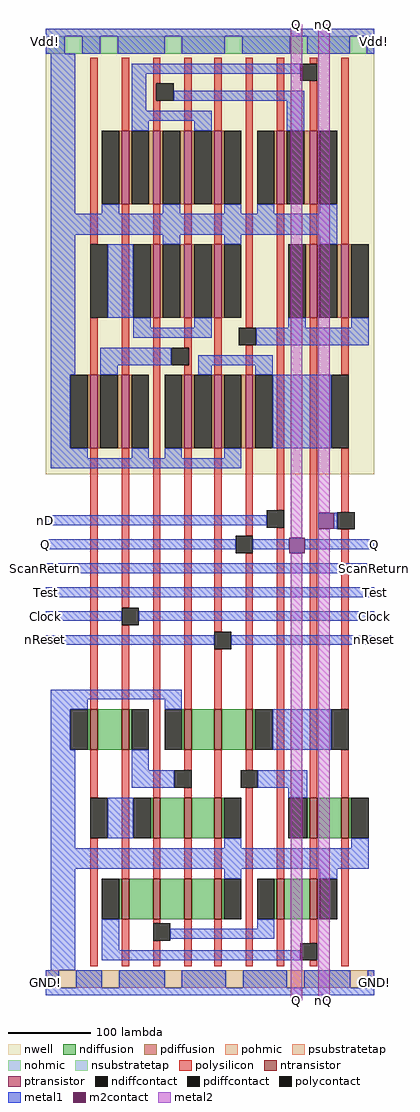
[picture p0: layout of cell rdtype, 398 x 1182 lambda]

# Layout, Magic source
magic
tech tsmc180
<< nwell >>
rect 0 637 398 1176
<< polysilicon >>
rect 54 915 63 1141
rect 92 1053 101 1141
rect 130 1110 139 1141
rect 130 1089 134 1110
rect 130 1053 139 1089
rect 168 1053 177 1141
rect 204 1053 213 1141
rect 54 757 63 826
rect 92 757 101 964
rect 130 915 139 964
rect 168 915 177 964
rect 204 915 213 964
rect 54 352 63 668
rect 92 475 101 668
rect 92 352 101 454
rect 54 245 63 303
rect 54 41 63 196
rect 92 147 101 303
rect 130 245 139 826
rect 168 790 177 826
rect 173 769 177 790
rect 168 757 177 769
rect 204 757 213 826
rect 242 814 251 1141
rect 280 1053 289 1141
rect 320 1134 329 1141
rect 320 1053 329 1113
rect 242 757 251 793
rect 168 352 177 668
rect 204 446 213 668
rect 242 562 251 668
rect 280 593 289 964
rect 320 915 329 964
rect 358 915 367 1141
rect 204 352 213 425
rect 242 352 251 541
rect 168 278 177 303
rect 168 245 177 257
rect 204 245 213 303
rect 242 278 251 303
rect 130 147 139 196
rect 168 147 177 196
rect 204 147 213 196
rect 92 41 101 98
rect 130 93 139 98
rect 130 41 139 72
rect 168 41 177 98
rect 204 41 213 98
rect 242 41 251 257
rect 280 147 289 572
rect 320 245 329 826
rect 358 757 367 826
rect 358 591 367 668
rect 358 352 367 570
rect 358 245 367 303
rect 320 147 329 196
rect 280 41 289 98
rect 320 69 329 98
rect 320 41 329 48
rect 358 41 367 196
<< ndiffusion >>
rect 51 303 54 352
rect 63 303 92 352
rect 101 303 104 352
rect 165 303 168 352
rect 177 303 204 352
rect 213 303 242 352
rect 251 303 254 352
rect 127 196 130 245
rect 139 196 168 245
rect 177 196 204 245
rect 213 196 216 245
rect 89 98 92 147
rect 101 98 130 147
rect 139 98 168 147
rect 177 98 204 147
rect 213 98 216 147
rect 317 196 320 245
rect 329 196 358 245
rect 367 196 370 245
rect 277 98 280 147
rect 289 98 320 147
rect 329 98 332 147
<< pdiffusion >>
rect 89 964 92 1053
rect 101 964 104 1053
rect 125 964 130 1053
rect 139 964 142 1053
rect 163 964 168 1053
rect 177 964 180 1053
rect 201 964 204 1053
rect 213 964 216 1053
rect 127 826 130 915
rect 139 826 142 915
rect 163 826 168 915
rect 177 826 180 915
rect 201 826 204 915
rect 213 826 216 915
rect 51 668 54 757
rect 63 668 66 757
rect 87 668 92 757
rect 101 668 104 757
rect 277 964 280 1053
rect 289 964 292 1053
rect 313 964 320 1053
rect 329 964 332 1053
rect 165 668 168 757
rect 177 668 180 757
rect 201 668 204 757
rect 213 668 216 757
rect 237 668 242 757
rect 251 668 254 757
rect 315 826 320 915
rect 329 826 332 915
rect 353 826 358 915
rect 367 826 370 915
<< pohmic >>
rect 0 15 16 36
rect 37 15 68 36
rect 89 15 144 36
rect 165 15 218 36
rect 239 15 292 36
rect 313 15 369 36
rect 390 15 398 36
<< nohmic >>
rect 0 1146 23 1167
rect 44 1146 66 1167
rect 87 1146 144 1167
rect 165 1146 217 1167
rect 238 1146 296 1167
rect 317 1146 368 1167
rect 389 1146 398 1167
<< ntransistor >>
rect 54 303 63 352
rect 92 303 101 352
rect 168 303 177 352
rect 204 303 213 352
rect 242 303 251 352
rect 130 196 139 245
rect 168 196 177 245
rect 204 196 213 245
rect 92 98 101 147
rect 130 98 139 147
rect 168 98 177 147
rect 204 98 213 147
rect 320 196 329 245
rect 358 196 367 245
rect 280 98 289 147
rect 320 98 329 147
<< ptransistor >>
rect 92 964 101 1053
rect 130 964 139 1053
rect 168 964 177 1053
rect 204 964 213 1053
rect 130 826 139 915
rect 168 826 177 915
rect 204 826 213 915
rect 54 668 63 757
rect 92 668 101 757
rect 280 964 289 1053
rect 320 964 329 1053
rect 168 668 177 757
rect 204 668 213 757
rect 242 668 251 757
rect 320 826 329 915
rect 358 826 367 915
<< polycontact >>
rect 134 1089 155 1110
rect 54 826 75 915
rect 92 454 113 475
rect 54 196 75 245
rect 152 769 173 790
rect 308 1113 329 1134
rect 234 793 255 814
rect 268 572 289 593
rect 230 541 251 562
rect 204 425 225 446
rect 156 257 177 278
rect 236 257 257 278
rect 130 72 151 93
rect 346 668 367 757
rect 353 570 374 591
rect 346 303 367 352
rect 308 48 329 69
<< ndiffcontact >>
rect 30 303 51 352
rect 104 303 125 352
rect 144 303 165 352
rect 254 303 275 352
rect 106 196 127 245
rect 216 196 237 245
rect 68 98 89 147
rect 216 98 237 147
rect 294 196 317 245
rect 370 196 391 245
rect 256 98 277 147
rect 332 98 353 147
<< pdiffcontact >>
rect 68 964 89 1053
rect 104 964 125 1053
rect 142 964 163 1053
rect 180 964 201 1053
rect 216 964 237 1053
rect 106 826 127 915
rect 142 826 163 915
rect 180 826 201 915
rect 216 826 237 915
rect 30 668 51 757
rect 66 668 87 757
rect 104 668 125 757
rect 256 964 277 1053
rect 292 964 313 1053
rect 332 964 353 1053
rect 144 668 165 757
rect 180 668 201 757
rect 216 668 237 757
rect 254 668 275 757
rect 294 826 315 915
rect 332 826 353 915
rect 370 826 391 915
<< psubstratetap >>
rect 16 15 37 36
rect 68 15 89 36
rect 144 15 165 36
rect 218 15 239 36
rect 292 15 313 36
rect 369 15 390 36
<< nsubstratetap >>
rect 23 1146 44 1167
rect 66 1146 87 1167
rect 144 1146 165 1167
rect 217 1146 238 1167
rect 296 1146 317 1167
rect 368 1146 389 1167
<< metal1 >>
rect 0 1167 398 1176
rect 0 1146 23 1167
rect 44 1146 66 1167
rect 87 1146 144 1167
rect 165 1146 217 1167
rect 238 1146 296 1167
rect 317 1146 368 1167
rect 389 1146 398 1167
rect 6 952 36 1146
rect 104 1122 308 1134
rect 104 1077 122 1122
rect 155 1089 313 1101
rect 104 1065 201 1077
rect 104 1053 125 1065
rect 180 1053 201 1065
rect 292 1053 313 1089
rect 68 952 89 964
rect 142 952 163 964
rect 216 952 237 964
rect 256 952 277 964
rect 332 952 353 964
rect 6 927 353 952
rect 6 757 36 927
rect 142 915 163 927
rect 216 915 237 927
rect 332 915 353 927
rect 75 826 106 915
rect 106 814 127 826
rect 180 814 201 826
rect 294 814 315 826
rect 370 814 391 826
rect 106 802 201 814
rect 255 793 391 814
rect 66 769 152 790
rect 185 769 275 781
rect 66 757 87 769
rect 185 757 201 769
rect 254 757 275 769
rect 6 668 30 757
rect 6 656 51 668
rect 104 656 125 668
rect 275 668 346 757
rect 144 656 165 668
rect 216 656 237 668
rect 6 644 237 656
rect 0 575 268 587
rect 349 571 353 590
rect 0 546 230 558
rect 251 546 295 558
rect 314 546 398 558
rect 0 517 398 529
rect 0 488 398 500
rect 0 459 92 471
rect 113 459 398 471
rect 0 430 204 442
rect 225 430 398 442
rect 6 364 165 376
rect 6 352 51 364
rect 144 352 165 364
rect 6 303 30 352
rect 275 303 346 352
rect 6 184 36 303
rect 104 278 125 303
rect 104 257 156 278
rect 257 257 317 278
rect 294 245 317 257
rect 75 196 106 245
rect 216 184 237 196
rect 370 184 391 196
rect 6 159 391 184
rect 6 36 36 159
rect 216 147 237 159
rect 332 147 353 159
rect 68 60 89 98
rect 256 86 277 98
rect 151 74 277 86
rect 68 48 308 60
rect 0 15 16 36
rect 37 15 68 36
rect 89 15 144 36
rect 165 15 218 36
rect 239 15 292 36
rect 313 15 369 36
rect 390 15 398 36
rect 0 6 398 15
<< m2contact >>
rect 330 571 349 590
rect 295 541 314 560
<< metal2 >>
rect 297 560 311 1182
rect 330 590 344 1182
rect 297 0 311 541
rect 330 0 344 571
<< labels >>
rlabel metal1 0 6 0 36 3 GND!
rlabel metal2 330 0 344 0 1 nQ
rlabel metal2 297 0 311 0 1 Q
rlabel metal1 398 6 398 36 7 GND!
rlabel metal1 0 459 0 471 1 Clock
rlabel metal1 0 430 0 442 1 nReset
rlabel metal1 0 488 0 500 3 Test
rlabel metal1 0 546 0 558 1 Q
rlabel metal1 0 517 0 529 3 ScanReturn
rlabel metal1 398 517 398 529 7 ScanReturn
rlabel metal1 398 546 398 558 7 Q
rlabel metal1 398 488 398 500 7 Test
rlabel metal1 398 459 398 471 7 Clock
rlabel metal1 398 430 398 442 7 nReset
rlabel metal1 0 575 0 587 1 nD
rlabel metal1 0 1146 0 1176 3 Vdd!
rlabel metal2 330 1182 344 1182 5 nQ
rlabel metal2 297 1182 311 1182 5 Q
rlabel metal1 398 1146 398 1176 7 Vdd!
<< end >>
